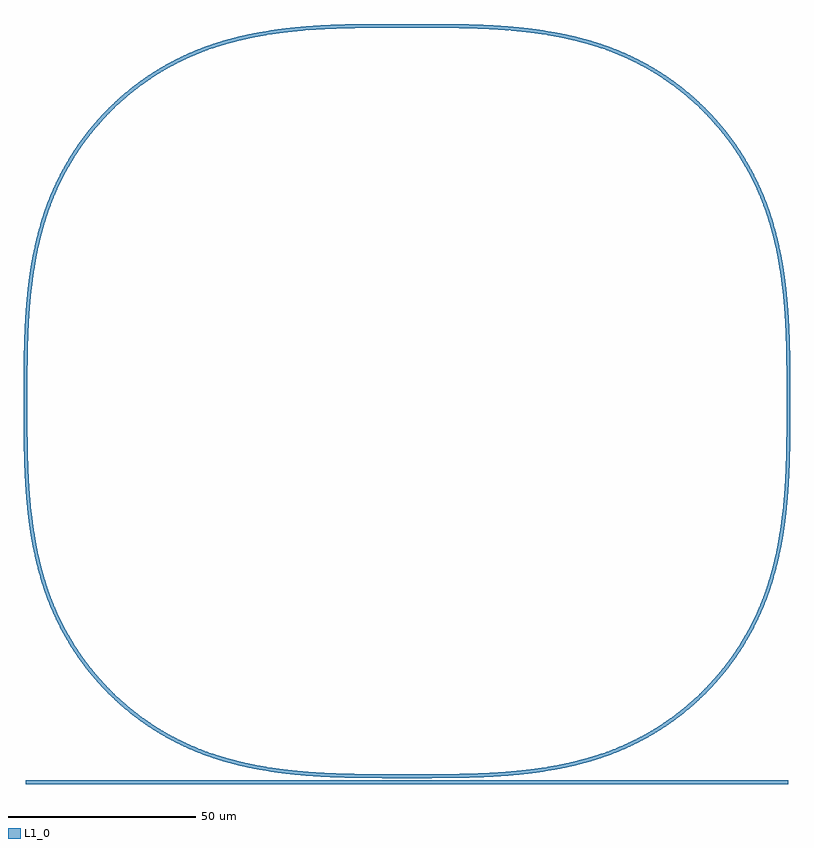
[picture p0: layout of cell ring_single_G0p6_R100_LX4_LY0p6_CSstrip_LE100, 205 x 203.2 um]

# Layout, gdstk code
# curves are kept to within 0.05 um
from math import pi, radians
import gdstk
lib = gdstk.Library(unit=1e-6, precision=1e-09)
def R(c, l, rs):  # rectangles x0, y0, x1, y1
    for r in rs: c.add(gdstk.rectangle(r[:2], r[2:], *l))
def P(c, l, *ps):  # polygons
    for p in ps: c.add(gdstk.Polygon(p, *l))
L1_0 = (1, 0)

coupler_ring_lx4_g0p6_r1 = lib.new_cell('coupler_ring_LX4_G0p6_R100_Bbend_euler_Sstraight_CSstrip_LE100')
R(coupler_ring_lx4_g0p6_r1, L1_0, [(-104,-0.5,100,0.5)])
P(coupler_ring_lx4_g0p6_r1, L1_0, [(-6.267,1.1),(-14.138,1.144),(-20.813,1.302),(-26.685,1.596),(-32.416,2.076),(-37.596,2.716),(-42.745,3.587),(-47.326,4.593),(-51.979,5.875),(-56.174,7.29),(-60.287,8.954),(-64.421,10.939),(-68.418,13.187),(-72.262,15.687),(-75.726,18.263),(-79.328,21.314),(-82.531,24.404),(-85.623,27.791),(-88.409,31.262),(-90.972,34.901),(-93.37,38.81),(-95.392,42.624),(-97.231,46.677),(-98.896,51.069),(-100.255,55.422),(-101.407,59.97),(-102.331,64.567),(-103.104,69.595),(-103.68,74.782),(-104.071,79.982),(-104.326,85.588),(-104.47,92.663),(-104.5,101.6),(-103.5,101.6),(-103.458,91.608),(-103.269,84.026),(-102.914,77.654),(-102.31,71.307),(-101.696,66.835),(-100.876,62.265),(-99.94,58.127),(-98.846,54.167),(-97.418,49.897),(-95.838,45.96),(-94.078,42.232),(-92.035,38.5),(-89.62,34.677),(-87.045,31.123),(-84.341,27.838),(-81.442,24.722),(-78.36,21.788),(-75.001,18.964),(-71.362,16.28),(-67.672,13.905),(-63.959,11.826),(-59.883,9.869),(-55.703,8.182),(-51.433,6.754),(-46.701,5.47),(-42.294,4.519),(-37.321,3.687),(-32.181,3.057),(-26.62,2.594),(-20.777,2.301),(-13.992,2.142),(-6.266,2.1),(11.988,2.173),(18.371,2.364),(23.416,2.648),(29.106,3.155),(34.109,3.803),(38.684,4.594),(43.473,5.66),(48.192,6.988),(52.571,8.507),(56.732,10.25),(60.547,12.136),(64.467,14.389),(68.234,16.891),(71.831,19.629),(75.245,22.594),(78.46,25.773),(81.633,29.357),(84.321,32.826),(86.929,36.681),(89.212,40.584),(91.183,44.505),(92.998,48.782),(94.492,53.029),(95.676,57.1),(96.687,61.356),(97.548,65.918),(98.23,70.648),(98.874,77.124),(99.269,84.026),(99.458,91.608),(99.5,101.6),(100.5,101.6),(100.47,92.663),(100.326,85.588),(100.03,79.315),(99.578,73.716),(98.941,68.402),(98.089,63.249),(97.007,58.274),(95.764,53.749),(94.122,48.923),(92.371,44.697),(90.41,40.702),(88.132,36.722),(85.446,32.677),(82.661,29.033),(79.555,25.478),(76.319,22.229),(72.671,19.024),(69.252,16.39),(65.337,13.753),(61.493,11.509),(57.271,9.397),(53.053,7.621),(48.875,6.155),(44.236,4.822),(39.534,3.744),(34.655,2.875),(29.613,2.205),(23.886,1.679),(18.415,1.365),(12.407,1.181)])

straight_l0p6_csstrip_wn = lib.new_cell('straight_L0p6_CSstrip_WNone_N2')
R(straight_l0p6_csstrip_wn, L1_0, [(0,-0.5,0.6,0.5)])

straight_l4_csstrip_wnon = lib.new_cell('straight_L4_CSstrip_WNone_N2')
R(straight_l4_csstrip_wnon, L1_0, [(0,-0.5,4,0.5)])

bend_euler_r100_a90_p0p5 = lib.new_cell('bend_euler_R100_A90_P0p5_WNone_CSstrip_AMRVFalse')
P(bend_euler_r100_a90_p0p5, L1_0, [(0,-0.5),(0,0.5),(9.992,0.542),(17.574,0.731),(23.946,1.086),(30.293,1.69),(34.765,2.304),(39.335,3.124),(43.473,4.06),(47.433,5.154),(51.703,6.582),(55.64,8.162),(59.368,9.922),(63.215,12.033),(66.923,14.38),(70.582,17.036),(74.062,19.923),(77.067,22.745),(80.077,25.938),(82.964,29.418),(85.47,32.857),(87.831,36.556),(89.896,40.277),(91.838,44.36),(93.418,48.297),(94.846,52.567),(95.94,56.527),(96.876,60.665),(97.696,65.235),(98.31,69.707),(98.914,76.054),(99.269,82.426),(99.458,90.008),(99.5,100),(100.5,100),(100.47,91.063),(100.326,83.988),(100.063,78.249),(99.63,72.649),(99.033,67.465),(98.212,62.308),(97.226,57.586),(96.07,53.178),(94.72,48.962),(93.074,44.704),(91.152,40.54),(88.897,36.393),(86.448,32.516),(83.919,29.018),(80.915,25.376),(77.868,22.132),(74.624,19.085),(70.982,16.081),(67.484,13.552),(63.607,11.103),(59.46,8.848),(55.296,6.926),(51.038,5.28),(46.822,3.93),(42.414,2.774),(37.692,1.788),(32.535,0.967),(27.351,0.37),(21.751,-0.063),(16.012,-0.326),(8.937,-0.47)])

ring_single_g0p6_r100_lx = lib.new_cell('ring_single_G0p6_R100_LX4_LY0p6_CSstrip_LE100')
ring_single_g0p6_r100_lx.add(gdstk.Reference(coupler_ring_lx4_g0p6_r1, (0,0)))
ring_single_g0p6_r100_lx.add(gdstk.Reference(straight_l0p6_csstrip_wn, (-104,101.6), rotation=pi/2))
ring_single_g0p6_r100_lx.add(gdstk.Reference(straight_l0p6_csstrip_wn, (100,102.2), rotation=3*pi/2))
ring_single_g0p6_r100_lx.add(gdstk.Reference(straight_l4_csstrip_wnon, (0,202.2), rotation=pi))
ring_single_g0p6_r100_lx.add(gdstk.Reference(bend_euler_r100_a90_p0p5, (-4,202.2), rotation=pi))
ring_single_g0p6_r100_lx.add(gdstk.Reference(bend_euler_r100_a90_p0p5, (100,102.2), rotation=pi/2))

lib.write_gds('ring_single_G0p6_R100_LX4_LY0p6_CSstrip_LE100.gds')
